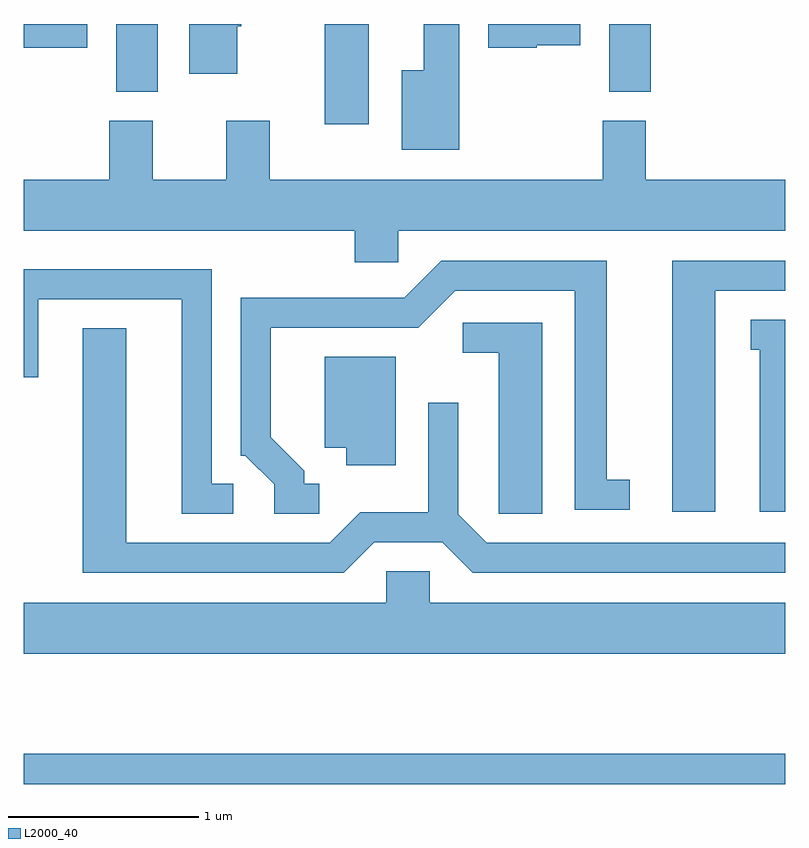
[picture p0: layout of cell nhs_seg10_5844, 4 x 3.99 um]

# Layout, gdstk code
import gdstk
lib = gdstk.Library(unit=1e-6, precision=1e-09)
def R(c, l, rs):  # rectangles x0, y0, x1, y1
    for r in rs: c.add(gdstk.rectangle(r[:2], r[2:], *l))
def P(c, l, *ps):  # polygons
    for p in ps: c.add(gdstk.Polygon(p, *l))
L2000_40 = (2000, 40)

nhs_seg10_5844 = lib.new_cell('nhs_seg10_5844')
R(nhs_seg10_5844, L2000_40, [(357.611,2146.531,361.611,2146.689), (359.191,2149.996,359.424,2150.522), (358.096,2150.166,358.314,2150.522), (360.686,2150.166,360.904,2150.522), (357.611,2150.396,357.944,2150.522)])
P(nhs_seg10_5844, L2000_40, [(358.734,2150.511),(358.754,2150.511),(358.754,2150.522),(358.481,2150.522),(358.481,2150.261),(358.734,2150.261)],
  [(359.899,2150.522),(359.711,2150.522),(359.711,2150.279),(359.596,2150.279),(359.596,2149.861),(359.899,2149.861)],
  [(360.305,2150.411),(360.534,2150.411),(360.534,2150.522),(360.051,2150.522),(360.051,2150.396),(360.305,2150.396)],
  [(359.579,2149.436),(361.611,2149.436),(361.611,2149.704),(360.879,2149.704),(360.879,2150.014),(360.651,2150.014),(360.651,2149.704),(358.904,2149.704),(358.904,2150.014),(358.676,2150.014),(358.676,2149.704),(358.289,2149.704),(358.289,2150.014),(358.061,2150.014),(358.061,2149.704),(357.611,2149.704),(357.611,2149.436),(359.351,2149.436),(359.351,2149.271),(359.579,2149.271)],
  [(361.244,2149.121),(361.611,2149.121),(361.611,2149.279),(361.016,2149.279),(361.016,2147.961),(361.244,2147.961)],
  [(359.163,2148.109),(359.084,2148.109),(359.084,2148.177),(358.909,2148.352),(358.909,2148.926),(359.682,2148.926),(359.877,2149.121),(360.506,2149.121),(360.506,2147.971),(360.793,2147.971),(360.793,2148.129),(360.674,2148.129),(360.674,2149.279),(359.804,2149.279),(359.609,2149.084),(358.751,2149.084),(358.751,2148.256),(358.774,2148.256),(358.926,2148.104),(358.926,2147.951),(359.163,2147.951)],
  [(358.713,2148.109),(358.599,2148.109),(358.599,2149.234),(357.611,2149.234),(357.611,2148.666),(357.689,2148.666),(357.689,2149.076),(358.441,2149.076),(358.441,2147.951),(358.713,2147.951)],
  [(361.611,2148.969),(361.428,2148.969),(361.428,2148.811),(361.476,2148.811),(361.476,2147.961),(361.611,2147.961)],
  [(360.334,2148.954),(359.918,2148.954),(359.918,2148.796),(360.106,2148.796),(360.106,2147.951),(360.334,2147.951)],
  [(359.452,2147.801),(359.809,2147.801),(359.969,2147.641),(361.611,2147.641),(361.611,2147.799),(360.042,2147.799),(359.894,2147.947),(359.894,2148.533),(359.736,2148.533),(359.736,2147.959),(359.379,2147.959),(359.219,2147.799),(358.149,2147.799),(358.149,2148.924),(357.921,2148.924),(357.921,2147.641),(359.292,2147.641)],
  [(359.564,2148.774),(359.191,2148.774),(359.191,2148.296),(359.306,2148.296),(359.306,2148.206),(359.564,2148.206)],
  [(361.611,2147.484),(359.744,2147.484),(359.744,2147.649),(359.516,2147.649),(359.516,2147.484),(357.611,2147.484),(357.611,2147.216),(361.611,2147.216)])

lib.write_gds('nhs_seg10_5844.gds')
